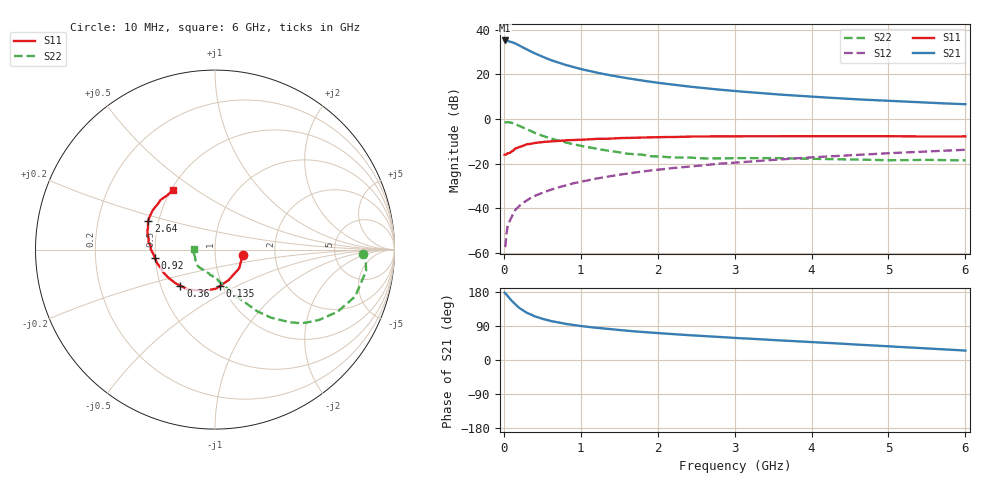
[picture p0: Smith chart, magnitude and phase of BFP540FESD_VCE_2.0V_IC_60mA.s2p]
! Infineon Technologies  Discrete & RF Semiconductors
! BFP540FESD
! VCE =  2.0 V,  IC =  60 mA
! Common Emitter S-Parameters:  Nov 2015
# GHz  S  MA  R  50
!  f  S11  S21  S12  S22
! GHz  MAG  ANG  MAG  ANG  MAG  ANG  MAG  ANG
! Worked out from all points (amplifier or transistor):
!   210 points, 10 MHz to 6 GHz, reference 50 ohm
!   highest |S21| = 35.2 dB at 10 MHz (marker M1)
!   |S21| within 3 dB of that: start of sweep to 241.8 MHz
!   unconditionally stable (mu >= 1): start of sweep to 33.4 MHz; 1.004 GHz to end of sweep
!   at 185 MHz: K = 0.56, MSG = 36.4 dB, |S12| = -39.6 dB
!   at 1.52 GHz: K = 1.06, MAG = 20.3 dB, |S12| = -24.9 dB
!   at 6 GHz: K = 1.19, MAG = 7.6 dB, |S12| = -13.8 dB
!   S11 on the Smith chart (normalised r, x): 10 MHz: 1.37, -0.08; 135 MHz: 0.97, -0.41; 360 MHz: 0.63, -0.28; 920 MHz: 0.50, -0.05; 2.64 GHz: 0.44, +0.17; 6 GHz: 0.51, +0.40
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0.01  0.1577 -10.0  57.57 177.6  0.0014 134.8  0.8263 -1.7
0.02  0.1578 -19.8  56.07 175.8  0.0014 107.7  0.8378 -1.1
0.05  0.1704 -37.8  56.22 168.6  0.004 90.0  0.8503 -8.0
0.1  0.1855 -65.6  53.23 156.6  0.0062 85.2  0.8237 -18.4
0.135  0.2048 -82.3  50.32 149.6  0.0082 79.0  0.7813 -24.2
0.15  0.2176 -88.3  49.32 146.4  0.0091 77.2  0.7658 -26.9
0.2  0.2338 -102.9  44.51 137.5  0.0111 74.7  0.6994 -34.1
0.3  0.2698 -124.9  36.15 124.5  0.015 71.0  0.5825 -44.1
0.36  0.279 -133.7  32.14 119.4  0.0172 71.2  0.5265 -47.7
0.4  0.2885 -139.2  29.63 115.3  0.0187 71.3  0.4905 -50.6
0.5  0.3036 -149.0  24.89 108.5  0.022 70.8  0.4192 -55.4
0.6  0.3142 -156.0  21.22 103.4  0.0253 71.3  0.3678 -58.4
0.74  0.3242 -163.8  17.64 97.8  0.03 70.7  0.3164 -62.3
0.92  0.3373 -171.7  14.31 91.9  0.0365 70.6  0.2666 -66.8
1.02  0.3421 -174.9  12.94 89.2  0.0397 69.9  0.2458 -69.1
1.5  0.3733 173.5  8.764 79.0  0.0559 68.4  0.1791 -82.9
2.02  0.3922 163.8  6.412 70.7  0.073 64.9  0.1439 -100.5
2.64  0.405 156.6  4.834 62.7  0.0929 61.4  0.13 -120.6
3.1  0.4082 151.7  4.096 57.3  0.1076 58.2  0.1319 -128.8
4.1  0.4089 144.6  3.084 46.2  0.1404 51.4  0.1269 -145.0
5.1  0.4085 136.3  2.498 35.0  0.1733 43.0  0.1185 -161.2
6  0.4053 125.6  2.139 24.9  0.2034 35.4  0.1179 178.0
